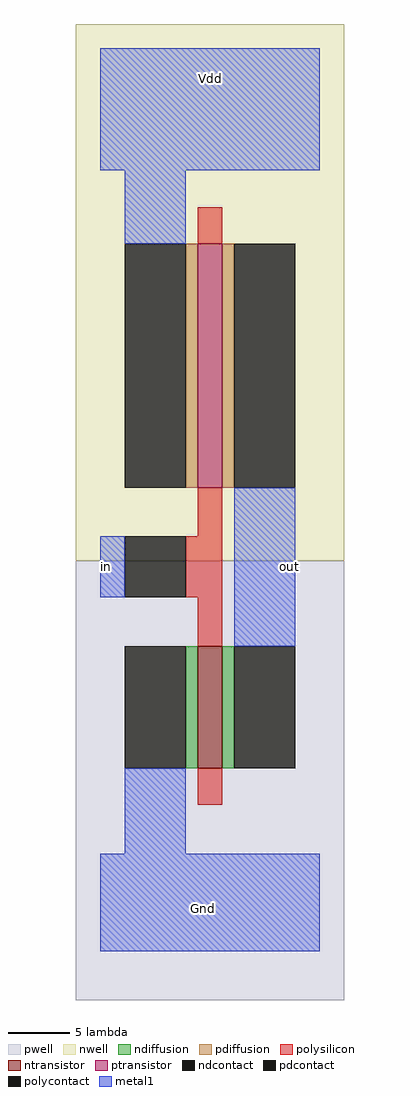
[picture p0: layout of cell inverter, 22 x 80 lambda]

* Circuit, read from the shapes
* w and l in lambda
.subckt inverter Gnd Vdd in out
M1 out in Gnd VSUBS nfet w=10 l=2
M2 out in Vdd n1 pfet w=20 l=2
.ends

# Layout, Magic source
magic
tech sample_6m
<< nwell >>
rect -4 32 18 76
<< pwell >>
rect -4 -4 18 32
<< ntransistor >>
rect 6 15 8 25
<< ptransistor >>
rect 6 38 8 58
<< ndiffusion >>
rect 5 15 6 25
rect 8 15 9 25
<< pdiffusion >>
rect 5 38 6 58
rect 8 38 9 58
<< ndcontact >>
rect 0 15 5 25
rect 9 15 14 25
<< pdcontact >>
rect 0 38 5 58
rect 9 38 14 58
<< polysilicon >>
rect 6 58 8 61
rect 6 34 8 38
rect 5 29 8 34
rect 6 25 8 29
rect 6 12 8 15
<< polycontact >>
rect 0 29 5 34
<< metal1 >>
rect -2 64 16 74
rect 0 58 5 64
rect -2 29 0 34
rect 9 25 14 38
rect 0 8 5 15
rect -2 0 16 8
<< labels >>
rlabel metal1 6 69 8 74 5 Vdd
rlabel metal1 6 3 7 4 1 Gnd
rlabel metal1 -2 31 -1 32 3 in
rlabel metal1 13 31 14 32 1 out
<< end >>
